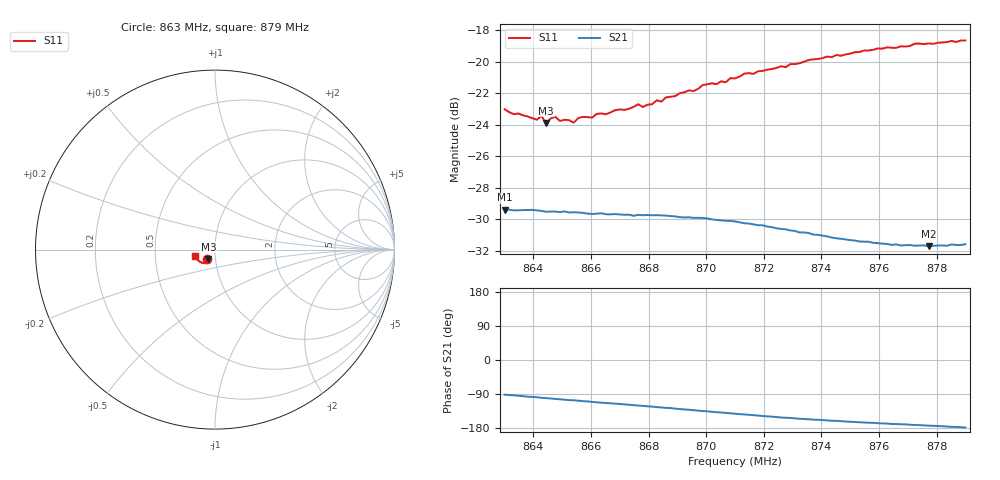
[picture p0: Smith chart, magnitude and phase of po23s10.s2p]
# HZ S RI R 50
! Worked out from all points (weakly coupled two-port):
!   101 points, 863 MHz to 879 MHz, reference 50 ohm
!   highest |S21| = -29.37 dB at 863 MHz (marker M1); lowest = -31.7 dB at 877.72 MHz (marker M2)
!   lowest |S11| = -23.9 dB at 864.44 MHz (marker M3), VSWR 1.14, Z = 46.2 - j4.88 ohm
!   |S11| at or under -10 dB: start of sweep to end of sweep
!   S12 and S22 are empty: the file has one direction only
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8.63e8  -0.0459 -0.0538  -0.000891 -0.034  0 0  0 0
8.6412e8  -0.0388 -0.0528  -0.00487 -0.0334  0 0  0 0
8.6428e8  -0.0388 -0.0551  -0.00573 -0.0332  0 0  0 0
8.6444e8  -0.0365 -0.0526  -0.00615 -0.0329  0 0  0 0
8.6476e8  -0.0381 -0.0551  -0.00735 -0.0327  0 0  0 0
8.6492e8  -0.0357 -0.0542  -0.00787 -0.0324  0 0  0 0
8.654e8  -0.0344 -0.0541  -0.00933 -0.032  0 0  0 0
8.6572e8  -0.0348 -0.0571  -0.0106 -0.0314  0 0  0 0
8.6604e8  -0.0342 -0.0571  -0.0115 -0.0308  0 0  0 0
8.662e8  -0.0356 -0.0584  -0.0122 -0.0307  0 0  0 0
8.6652e8  -0.0337 -0.0593  -0.0131 -0.0301  0 0  0 0
8.6764e8  -0.0354 -0.0642  -0.0164 -0.0283  0 0  0 0
8.678e8  -0.0347 -0.063  -0.0169 -0.0279  0 0  0 0
8.6828e8  -0.036 -0.0663  -0.0184 -0.027  0 0  0 0
8.6844e8  -0.0359 -0.0656  -0.0187 -0.0267  0 0  0 0
8.6988e8  -0.0427 -0.0728  -0.0225 -0.0227  0 0  0 0
8.71e8  -0.0488 -0.0739  -0.0245 -0.0193  0 0  0 0
8.7132e8  -0.0513 -0.076  -0.0248 -0.0182  0 0  0 0
8.7372e8  -0.0694 -0.0745  -0.0261 -0.0109  0 0  0 0
8.7644e8  -0.0924 -0.0612  -0.0258 -0.00511  0 0  0 0
8.7772e8  -0.1023 -0.051  -0.0258 -0.00308  0 0  0 0
8.79e8  -0.1105 -0.038  -0.0264 -0.000774  0 0  0 0
